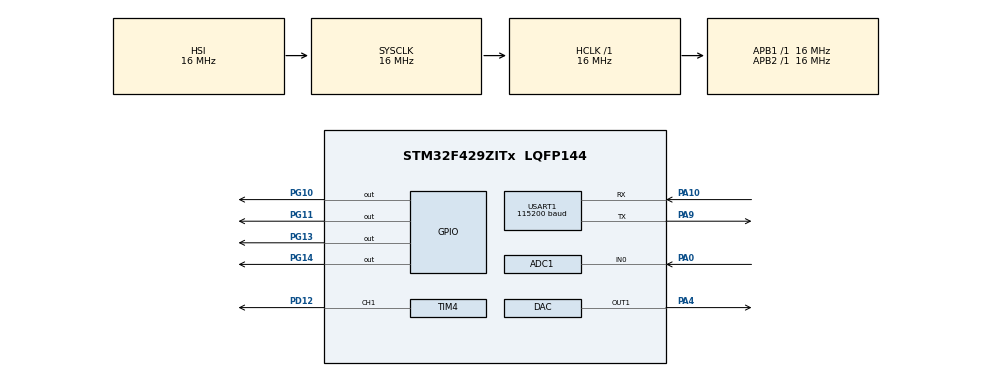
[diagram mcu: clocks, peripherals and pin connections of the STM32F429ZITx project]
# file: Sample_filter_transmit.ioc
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ADC1.Channel-0\#ChannelRegularConversion=ADC_CHANNEL_0
ADC1.DMAContinuousRequests=ENABLE
ADC1.ExternalTrigConv=ADC_EXTERNALTRIGCONV_T2_TRGO
ADC1.NbrOfConversionFlag=1
ADC1.Rank-0\#ChannelRegularConversion=1
ADC1.SamplingTime-0\#ChannelRegularConversion=ADC_SAMPLETIME_84CYCLES
ADC1.master=1
DAC.DAC_Trigger=DAC_TRIGGER_T4_TRGO
Dma.ADC1.0.Direction=DMA_PERIPH_TO_MEMORY
Dma.ADC1.0.FIFOMode=DMA_FIFOMODE_DISABLE
Dma.ADC1.0.Instance=DMA2_Stream0
Dma.ADC1.0.MemDataAlignment=DMA_MDATAALIGN_HALFWORD
Dma.ADC1.0.MemInc=DMA_MINC_ENABLE
Dma.ADC1.0.Mode=DMA_CIRCULAR
Dma.ADC1.0.PeriphDataAlignment=DMA_PDATAALIGN_HALFWORD
Dma.ADC1.0.PeriphInc=DMA_PINC_DISABLE
Dma.ADC1.0.Priority=DMA_PRIORITY_LOW
Dma.DAC1.1.Direction=DMA_MEMORY_TO_PERIPH
Dma.DAC1.1.FIFOMode=DMA_FIFOMODE_DISABLE
Dma.DAC1.1.Instance=DMA1_Stream5
Dma.DAC1.1.MemDataAlignment=DMA_MDATAALIGN_HALFWORD
Dma.DAC1.1.MemInc=DMA_MINC_ENABLE
Dma.DAC1.1.Mode=DMA_CIRCULAR
Dma.DAC1.1.PeriphDataAlignment=DMA_PDATAALIGN_HALFWORD
Dma.DAC1.1.PeriphInc=DMA_PINC_DISABLE
Dma.DAC1.1.Priority=DMA_PRIORITY_LOW
Dma.Request0=ADC1
Dma.Request1=DAC1
Mcu.Family=STM32F4
Mcu.Name=STM32F429ZITx
Mcu.Package=LQFP144
NVIC.DMA1_Stream5_IRQn=true\:0\:0\:false\:false\:true\:false\:true\:true
NVIC.DMA2_Stream0_IRQn=true\:0\:0\:false\:false\:true\:false\:true\:true
NVIC.PriorityGroup=NVIC_PRIORITYGROUP_4
NVIC.TIM2_IRQn=true\:0\:0\:false\:false\:true\:true\:true\:true
NVIC.TIM6_DAC_IRQn=true\:0\:0\:false\:false\:true\:true\:true\:true
NVIC.USART1_IRQn=true\:0\:0\:false\:false\:true\:true\:true\:true
PA0/WKUP.Signal=ADCx_IN0
PA10.Mode=Asynchronous
PA10.Signal=USART1_RX
PA4.Signal=COMP_DAC1_group
PA9.Mode=Asynchronous
PA9.Signal=USART1_TX
PD12.Signal=S_TIM4_CH1
PG10.Signal=GPIO_Output
PG11.Signal=GPIO_Output
PG13.Signal=GPIO_Output
PG14.Signal=GPIO_Output
ProjectManager.HeapSize=0x200
ProjectManager.StackSize=0x400
ProjectManager.TargetToolchain=STM32CubeIDE
RCC.AHBFreq_Value=16000000
RCC.APB1Freq_Value=16000000
RCC.APB2Freq_Value=16000000
RCC.CortexFreq_Value=16000000
RCC.HSE_VALUE=25000000
RCC.HSI_VALUE=16000000
RCC.LSE_VALUE=32768
RCC.SYSCLKFreq_VALUE=16000000
RCC.VCOOutputFreq_Value=192000000
SH.ADCx_IN0.0=ADC1_IN0,IN0
SH.COMP_DAC1_group.0=DAC_OUT1,DAC_OUT1
SH.S_TIM4_CH1.0=TIM4_CH1,PWM Generation1 CH1
STMicroelectronics.X-CUBE-ALGOBUILD.1.4.0.LibraryCcDSPOoLibraryJjDSPOoLibrary=true
TIM2.Period=9
TIM2.Prescaler=1599
TIM2.TIM_MasterOutputTrigger=TIM_TRGO_UPDATE
TIM4.Channel-PWM\ Generation1\ CH1=TIM_CHANNEL_1
TIM4.Period=9
TIM4.Prescaler=2221
TIM4.Pulse-PWM\ Generation1\ CH1=5
TIM4.TIM_MasterOutputTrigger=TIM_TRGO_UPDATE
TIM6.Period=9
TIM6.Prescaler=2221
TIM6.TIM_MasterOutputTrigger=TIM_TRGO_UPDATE
USART1.BaudRate=115200
USART1.VirtualMode=VM_ASYNC
VP_STMicroelectronics.X-CUBE-ALGOBUILD_VS_DSPOoLibraryJjLibrary_1.4.0_1.4.0.Mode=DSPOoLibraryJjLibrary
VP_TIM2_VS_ClockSourceINT.Mode=Internal
VP_TIM4_VS_ClockSourceINT.Mode=Internal
VP_TIM6_VS_ClockSourceINT.Mode=Enable_Timer
board=custom

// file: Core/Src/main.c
/* USER CODE BEGIN Header */
/**
  ******************************************************************************
  * @file           : main.c
  * @brief          : Main program body
  ******************************************************************************
  * @attention
  *
  * Copyright (c) 2025 STMicroelectronics.
  * All rights reserved.
  *
  * This software is licensed under terms that can be found in the LICENSE file
  * in the root directory of this software component.
  * If no LICENSE file comes with this software, it is provided AS-IS.
  *
  ******************************************************************************
  */
/* USER CODE END Header */
#include "main.h"

/* USER CODE BEGIN Includes */
#include <stdbool.h>
#include "arm_math.h"
#include "aami3b_dac.h"
#include "fir_coeffs_equiripple.h"
#include "fir_coeffs_freq_sample.h"
/* USER CODE END Includes */

/* USER CODE BEGIN PD */

//General defines
#define SAMPLING_FREQUENCY 1000
#define BUFFER_SIZE 32
#define HALF_BUFFER_SIZE (BUFFER_SIZE / 2)
#define DECIMATION_FACTOR 4
#define HALF_BUFFER_SIZE_DECIMATED (HALF_BUFFER_SIZE/DECIMATION_FACTOR)
#define ADC_CONVERSION_FACTOR 0.00073260073
#define TIMER_PERIOD 1/(SAMPLING_FREQUENCY)*1000

//IIR defines
#define IIR_FILTER_ORDER 6
#define IIR_NUM_STAGES (IIR_FILTER_ORDER / 2)

//FIR frequency sample defines
#define FIR_FILTER_ORDER_FREQ_SAMPLE 1000
#define FIR_FILTER_LENGTH_FREQ_SAMPLE (FIR_FILTER_ORDER_FREQ_SAMPLE +1)
#define FIR_LENGTH_FREQ_SAMPLE (HALF_BUFFER_SIZE_DECIMATED + FIR_FILTER_LENGTH_FREQ_SAMPLE - 1)

#define FIR_FILTER_ORDER_EQUIRIPPLE 2000
#define FIR_FILTER_LENGTH_EQUIRIPPLE (FIR_FILTER_ORDER_EQUIRIPPLE + 1)
#define FIR_LENGTH_EQUIRIPPLE (HALF_BUFFER_SIZE + FIR_FILTER_LENGTH_EQUIRIPPLE - 1)

//Pan-thompkins defines
#define TIME_WINDOW 150 //150 ms
#define WINDOW_LENGTH 150 //150 samples for fs = 1000 Hz
#define WINDOW_LENGTH_DECIMATED 38 //38 samples for fs = 250 Hz

#define PAN_THOMPKINS_FIR_FILTER_LENGTH 5
#define PAN_THOMPKINS_FIR_LENGTH (HALF_BUFFER_SIZE + PAN_THOMPKINS_FIR_FILTER_LENGTH - 1)
#define PAN_THOMPKINS_FIR_LENGTH_DECIMATED (HALF_BUFFER_SIZE_DECIMATED + PAN_THOMPKINS_FIR_FILTER_LENGTH - 1)

#define PAN_THOMPKINS_NUM_STAGES 4

#define REFACTORY_PERIOD 200
#define PEAK_STORAGE 1000
#define R_PEAKS 16 //Should be 8, but testing other values

//Masks
#define DECIMATION 0b00000001
#define HEART_RATE_TRANSMIT 0b00000010

//#define EVALUATION_ECG_LENGTH 43142
#define EVALUATION_ECG_LENGTH 43142

/* USER CODE END PD */

ADC_HandleTypeDef hadc1;
DMA_HandleTypeDef hdma_adc1;

DAC_HandleTypeDef hdac;
DMA_HandleTypeDef hdma_dac1;

TIM_HandleTypeDef htim2;
TIM_HandleTypeDef htim4;
TIM_HandleTypeDef htim6;

UART_HandleTypeDef huart1;

/* USER CODE BEGIN PV */
uint8_t c = 0;
uint8_t mode_flag = 0;
uint32_t MAX_SAMPLES = 0;
volatile uint16_t adc_data[BUFFER_SIZE] = {0}; //DMA buffer
volatile float32_t data_buffer0[HALF_BUFFER_SIZE] = {0}; //Storing first half of ADC conversions
volatile float32_t data_buffer1[HALF_BUFFER_SIZE] = {0}; //Storing last half of ADC conversions

volatile float32_t uart_data0[HALF_BUFFER_SIZE] = {0}; //For normal transmission
volatile float32_t uart_data1[HALF_BUFFER_SIZE] = {0}; //For normal transmission
volatile float32_t uart_data0_downsampled[HALF_BUFFER_SIZE_DECIMATED] = {0}; //For downsampled transmission
volatile float32_t uart_data1_downsampled[HALF_BUFFER_SIZE_DECIMATED] = {0}; //For downsampled transmission

volatile float32_t pan_thompkins0[HALF_BUFFER_SIZE] = {0};
volatile float32_t pan_thompkins1[HALF_BUFFER_SIZE] = {0};
volatile float32_t pan_thompkins_decimated0[HALF_BUFFER_SIZE_DECIMATED] = {0};
volatile float32_t pan_thompkins_decimated1[HALF_BUFFER_SIZE_DECIMATED] = {0};

volatile uint8_t transmit_flag = 0;
volatile uint32_t timer2_counter = 0;
volatile float32_t uart_ma_hr_data[HALF_BUFFER_SIZE + 1] = {0};
volatile float32_t uart_ma_hr_data_decimated[HALF_BUFFER_SIZE_DECIMATED + 1] = {0};

//Moving average
float32_t ma_samples[WINDOW_LENGTH] = {0};
float32_t ma_samples_decimated[WINDOW_LENGTH_DECIMATED] = {0};
float32_t ma_output[HALF_BUFFER_SIZE];
float32_t ma_output_decimated[HALF_BUFFER_SIZE_DECIMATED];

//Peak detection
uint32_t r_peak_index[PEAK_STORAGE] = {0};
float32_t r_peak_interval[R_PEAKS] = {0};
uint8_t r_index = 0;
float32_t r_peak_interval_average = 0;
bool peak_detected = false;
float32_t beats_per_minute = 0;
float32_t THRESHOLD1I = 0;

//FIR filtering stuff
float32_t fir_state_freq_sample[FIR_LENGTH_FREQ_SAMPLE] = {0};
float32_t fir_in_freq_sample[HALF_BUFFER_SIZE_DECIMATED] = {0};

float32_t fir_state_equiripple[FIR_LENGTH_EQUIRIPPLE] = {0};
float32_t fir_in_equiripple[HALF_BUFFER_SIZE] = {0};
arm_fir_instance_f32 fir0;

uint32_t debug_counter0 = 0;
uint32_t debug_counter1 = 0;

bool use_evaluation = true;

/*
//Every coefficient has been normalized to a0. The array stores b10, b11, b12, a11, a12, ...
//Coefficients in SOS form. Remember, MATLAB puts a minus sign in front of a coefficients. Just negate them.
float32_t iir_coeffs[5*IIR_NUM_STAGES] = { 1.000000000000000, -2.000000000000000, 1.000000000000000,   1.9878958, -0.9879351,
									   1.000000000000000, -2.000000000000000, 1.000000000000000,   1.9911143, -0.9911535,
									   1.000000000000000, -1.999969278284963, 0.999980865437720,   1.9967135, -0.9967529};

float32_t iir_state0[2*IIR_NUM_STAGES] = {0}; //For DF1 we need 4*numstages, but for DF2T we need 2*numstages
*/

float32_t iir_butterworth_coeffs[5*IIR_NUM_STAGES] = {0.0010516, 0.0021033, 0.0010516, 0.8402869, -0.1883452,
												  	  1.0000000, 2.0000000, 1.0000000, 0.9428090, -0.3333333,
													  1.0000000, 2.0000000, 1.0000000, 1.1954340, -0.6905989};
float32_t iir_butterworth_state[2*IIR_NUM_STAGES] = {0};
float32_t iir_out0[HALF_BUFFER_SIZE] = {0};
float32_t iir_out1[HALF_BUFFER_SIZE] = {0};
arm_biquad_cascade_df2T_instance_f32 iir0;

float32_t iir_pan_thompkins_bp[5*PAN_THOMPKINS_NUM_STAGES] = {
										1.8321602e-04, 3.6643204e-04, 1.8321602e-04, 1.6776208, -0.7465797,
										1.0000000,	   2.0000000,	  1.0000000,     1.8128196,	-0.8389382,
										1.0000000,	  -2.0000000,	  1.0000000,	 1.7450038,	-0.8690063,
										1.0000000,	  -2.0000000,	  1.0000000,	 1.9344329,	-0.9507427};
float32_t iir_pan_thompkins_bp_state[2*4] = {0};
arm_biquad_cascade_df2T_instance_f32 iir_pan_thompkins;

//float32_t fir_derivative_coeffs[5] = {-31.250000000000000,	-62.500000000000000,	0,	62.500000000000000,	31.250000000000000};
float32_t fir_derivative_coeffs[5] = {-1,	-2,	0,	2,	1};
float32_t fir_derivative_state[PAN_THOMPKINS_FIR_LENGTH] = {0};
float32_t fir_derivative_state_decimated[PAN_THOMPKINS_FIR_LENGTH_DECIMATED] = {0};
arm_fir_instance_f32 fir_pan_thompkins;

/* USER CODE END PV */

void SystemClock_Config(void);
static void MX_GPIO_Init(void);
static void MX_DMA_Init(void);
static void MX_ADC1_Init(void);
static void MX_TIM2_Init(void);
static void MX_USART1_UART_Init(void);
static void MX_DAC_Init(void);
static void MX_TIM6_Init(void);
static void MX_TIM4_Init(void);

/* USER CODE BEGIN 0 */

void HAL_ADC_ConvHalfCpltCallback(ADC_HandleTypeDef *hadc){
	transmit_flag = (1 << 0);
	for(int i = 0; i < HALF_BUFFER_SIZE; i++){
		data_buffer0[i] = (float32_t)adc_data[i] * ADC_CONVERSION_FACTOR;
	}
}
void HAL_ADC_ConvCpltCallback(ADC_HandleTypeDef *hadc){
	transmit_flag = (1 << 1);
	for(int i = HALF_BUFFER_SIZE; i < BUFFER_SIZE; i++){
		data_buffer1[i-HALF_BUFFER_SIZE] = (float32_t)adc_data[i] * ADC_CONVERSION_FACTOR;
	}
}

void HAL_TIM_PeriodElapsedCallback(TIM_HandleTypeDef *htim){
	timer2_counter++;
}
//Reverse array in place
static void reverse_array(float32_t arr[], int size) {
	float32_t temp;
	int last_index = size - 1;
	for (int i = 0; i < size / 2; i++) {
		temp = arr[i];
		arr[i] = arr[last_index - i];
		arr[last_index - i] = temp;
	}
}

static void decimate(float32_t source[], float32_t dest[], int size){
	for(int i = 0; i < size/DECIMATION_FACTOR; i++){
		dest[i] = source[i*DECIMATION_FACTOR];
	}
}

static void square(float32_t source[], int size){
	for(int i = 0; i < size; i++){
		source[i] = (source[i] * source[i]);
	}
}

//We process HALF_BUFFER_SIZE or HALF_BUFFER_SIZE_DECIMATED samples at a time, hence the need for the for loop.
static void moving_average(float32_t* input_samples, int size){
	static uint32_t ma_counter = 0;
	static uint16_t ma_index = 0;
	static float32_t ma = 0;

	if(mode_flag & DECIMATION){
		for(int i = 0; i < size; i++){
			if(ma_counter < WINDOW_LENGTH_DECIMATED){
				ma = (float32_t) (input_samples[i] + ma_counter*ma)/(ma_counter + 1);
			}
			else{
				ma = ma + (input_samples[i] - (float32_t)ma_samples_decimated[ma_index])/WINDOW_LENGTH_DECIMATED;
			}
			ma_output_decimated[i] = ma; //Store the output in a buffer to be sent via uart.
			ma_samples_decimated[ma_index] = input_samples[i]; //Store the input sample
			ma_counter++;
			ma_index = ma_counter % WINDOW_LENGTH_DECIMATED; //Update index as to know which samples is the oldest.
		}
	}
	else{
		for(int i = 0; i < size; i++){
			if(ma_counter < WINDOW_LENGTH){
				ma = (float32_t) (input_samples[i] + ma_counter*ma)/(ma_counter + 1);
			}
			else{
				ma = ma + (input_samples[i] - (float32_t)ma_samples[ma_index])/WINDOW_LENGTH;
			}
			ma_output[i] = ma; //Store the output in a buffer to be sent via uart.
			ma_samples[ma_index] = input_samples[i]; //Store the input sample
			ma_counter++;
			ma_index = ma_counter % WINDOW_LENGTH; //Update index as to know which samples is the oldest.
		}
	}
}

//We process HALF_BUFFER_SIZE or HALF_BUFFER_SIZE_DECIMATED samples at a time, hence the need for the for loop.
static bool peak_detection(float32_t* input_samples, int size){
	static float32_t middle = 0;
	static float32_t left = 0;
	static uint32_t last_peak_index = 0;
	static uint8_t j = 0;
	static float32_t SPKI = 0;
	static float32_t NPKI = 0;

	bool peak_detected = false;
	for(int i = 0; i < size; i++){
		if(middle >= left && middle >= input_samples[i]){ //Middle sample is a peak
			float32_t peak = middle;
			uint32_t index_diff = timer2_counter - last_peak_index;
			float32_t time_diff = (float32_t)index_diff * (float32_t)TIMER_PERIOD;
			if(time_diff >= REFACTORY_PERIOD){
				if(peak > THRESHOLD1I){
					peak_detected = true;
					r_peak_index[j] = timer2_counter;
					j++;
					last_peak_index = timer2_counter;
					SPKI = (float32_t)0.125 * peak + (float32_t)0.875*SPKI;
					r_peak_interval[r_index] = time_diff;
					r_index = (r_index + 1) % R_PEAKS;
					float32_t sum = 0;
					for(int i = 0; i < R_PEAKS; i++){
						sum += r_peak_interval[i];
					}
					r_peak_interval_average = (float32_t)sum/R_PEAKS;
					beats_per_minute = (float32_t) (60/(r_peak_interval_average/1000));
				}
				else{
					NPKI = (float32_t)0.125 * peak + (float32_t)0.875 * NPKI;
				}
				if(mode_flag & DECIMATION){
					THRESHOLD1I = NPKI + (float32_t)0.5*(SPKI - NPKI); //Try to tune the multiplication value
				}
				else{
					THRESHOLD1I = NPKI + (float32_t)0.5*(SPKI - NPKI); //Try to tune the multiplication value
				}
			}
		}
		left = middle;
		middle = input_samples[i];
	}
	return peak_detected;
}

//Appends the heart rate onto an array of length HALF_BUFFER_SIZE or HALF_BUFFER_SIZE_DECIMATED
static void collect(float32_t* arr, int size, float32_t val){
	for(int i = 0; i < size; i++){
		if(mode_flag & DECIMATION){
			uart_ma_hr_data_decimated[i] = arr[i];
		}
		else{
			uart_ma_hr_data[i] = arr[i];
		}
	}
	if(mode_flag & DECIMATION){
		uart_ma_hr_data_decimated[size] = val;
	}
	else{
		uart_ma_hr_data[size] = val;
	}
}

/* USER CODE END 0 */

int main(void)
{

  /* MCU Configuration--------------------------------------------------------*/

  /* Reset of all peripherals, Initializes the Flash interface and the Systick. */
  HAL_Init();

  /* Configure the system clock */
  SystemClock_Config();

  /* Initialize all configured peripherals */
  MX_GPIO_Init();
  MX_DMA_Init();
  MX_ADC1_Init();
  MX_TIM2_Init();
  MX_USART1_UART_Init();
  MX_DAC_Init();
  MX_TIM6_Init();
  MX_TIM4_Init();
  /* USER CODE BEGIN 2 */
  if(use_evaluation){
	  HAL_DAC_Start_DMA(&hdac, DAC_CHANNEL_1, aami3b_waveform, EVALUATION_ECG_LENGTH, DAC_ALIGN_12B_R); //For dac
  }
  //HAL_TIM_Base_Start(&htim6);
  HAL_TIM_Base_Start(&htim4);
  HAL_TIM_PWM_Start(&htim4, TIM_CHANNEL_1);

  HAL_UART_Receive(&huart1, &c, sizeof(char), HAL_MAX_DELAY); //Wait to receive decimation information from python
  switch(c){
  	  case 1: //Don't use decimation
  		  mode_flag &= ~(1 << 0);
  		  break;
  	  case 2: //Use decimation
  		  mode_flag |= (1 << 0);
  		  break;
  }
  HAL_UART_Receive(&huart1, &c, sizeof(char), HAL_MAX_DELAY); //Wait to receive heart rate information from python
  switch(c){
  	  case 1: //Don't measure heart rate
  		  mode_flag &= ~(1 << 1);
  		  break;
  	  case 2: //Measure heart rate
  		  mode_flag |= (1 << 1);
  		  break;
  }
  HAL_UART_Receive(&huart1, &c, sizeof(char), HAL_MAX_DELAY); //Wait to receive sampling mode from python
  switch(c){
  	  case 1: //Are we in "writing to file" mode?
  		  MAX_SAMPLES = 20000;
  		  break;
  	  case 2: //Or are we in "real-time plotting" mode?
  		  MAX_SAMPLES = 50000;
  		  break;
  }

  //Regular signal processing
  if(mode_flag & DECIMATION){
	  arm_biquad_cascade_df2T_init_f32(&iir0, IIR_NUM_STAGES, iir_butterworth_coeffs, iir_butterworth_state); //Lowpass filter for decimation
	  reverse_array(fir_coeffs_freq_sample, FIR_FILTER_LENGTH_FREQ_SAMPLE); //Coefficients must be reversed to use library functions
	  arm_fir_init_f32(&fir0, FIR_FILTER_LENGTH_FREQ_SAMPLE, fir_coeffs_freq_sample, fir_state_freq_sample, HALF_BUFFER_SIZE_DECIMATED); //FIR filter used with decimation
  }
  else{
	  reverse_array(fir_coeffs_equiripple, FIR_FILTER_LENGTH_EQUIRIPPLE); //Coefficients must be reversed to use library functions
	  arm_fir_init_f32(&fir0, FIR_FILTER_LENGTH_EQUIRIPPLE, fir_coeffs_equiripple, fir_state_equiripple, HALF_BUFFER_SIZE); //FIR filter used without decimation
  }

  //Pan-thompkins
  if(mode_flag & DECIMATION){
	  reverse_array(fir_derivative_coeffs, 5);
	  arm_biquad_cascade_df2T_init_f32(&iir_pan_thompkins,PAN_THOMPKINS_NUM_STAGES, iir_pan_thompkins_bp, iir_pan_thompkins_bp_state);
	  arm_fir_init_f32(&fir_pan_thompkins, PAN_THOMPKINS_FIR_FILTER_LENGTH, fir_derivative_coeffs, fir_derivative_state_decimated, HALF_BUFFER_SIZE_DECIMATED);
  }
  else{
	  reverse_array(fir_derivative_coeffs,5);
	  arm_biquad_cascade_df2T_init_f32(&iir_pan_thompkins,PAN_THOMPKINS_NUM_STAGES, iir_pan_thompkins_bp, iir_pan_thompkins_bp_state);
	  arm_fir_init_f32(&fir_pan_thompkins, PAN_THOMPKINS_FIR_FILTER_LENGTH, fir_derivative_coeffs, fir_derivative_state, HALF_BUFFER_SIZE);
  }

  HAL_ADC_Start_DMA(&hadc1, adc_data, BUFFER_SIZE);
  HAL_TIM_Base_Start_IT(&htim2);

  /* USER CODE END 2 */

  /* Infinite loop */
  /* USER CODE BEGIN WHILE */
  while (1)
  {

	  switch(transmit_flag){
	  	  case 1: //Transmit buffer0
	  		  transmit_flag = 0;
	  		  if(mode_flag & DECIMATION){
	  			  //FIR and decimate scheme
		  		  arm_biquad_cascade_df2T_f32(&iir0, data_buffer0, iir_out0, HALF_BUFFER_SIZE);
		  		  decimate(iir_out0, fir_in_freq_sample, HALF_BUFFER_SIZE);
		  		  arm_fir_f32(&fir0, fir_in_freq_sample, uart_data0_downsampled, HALF_BUFFER_SIZE_DECIMATED);
		  		  if(!(mode_flag & HEART_RATE_TRANSMIT)){
		  			  HAL_UART_Transmit_IT(&huart1, (uint8_t*)uart_data0_downsampled, sizeof(uart_data0_downsampled));
		  		  }
	  		  }
	  		  else{
	  			  arm_fir_f32(&fir0, data_buffer0, uart_data0, HALF_BUFFER_SIZE);
	  			  if(!(mode_flag & HEART_RATE_TRANSMIT)){
	  				  HAL_UART_Transmit_IT(&huart1, (uint8_t*)uart_data0, sizeof(uart_data0));
	  			  }
	  		  }

	  		  //arm_biquad_cascade_df2T_f32(&iir0, iir_in0, uart_data0, HALF_BUFFER_SIZE);
	  		  //HAL_UART_Transmit_IT(&huart1, uart_data0, sizeof(uart_data0));

	  		  //Pan-Thompkins
	  		  if(mode_flag & HEART_RATE_TRANSMIT){
	  			  if(mode_flag & DECIMATION){
					arm_biquad_cascade_df2T_f32(&iir_pan_thompkins,uart_data0_downsampled, pan_thompkins_decimated0, HALF_BUFFER_SIZE_DECIMATED); //Bandpass filtering
					arm_fir_f32(&fir_pan_thompkins, pan_thompkins_decimated0, pan_thompkins_decimated1, HALF_BUFFER_SIZE_DECIMATED); //Derivative
					square(pan_thompkins_decimated1, HALF_BUFFER_SIZE_DECIMATED);
					moving_average(pan_thompkins_decimated1, HALF_BUFFER_SIZE_DECIMATED);
					if (timer2_counter > 5000) {
						peak_detected = peak_detection(ma_output_decimated,HALF_BUFFER_SIZE_DECIMATED);
					}
					collect(uart_data0_downsampled, HALF_BUFFER_SIZE_DECIMATED, beats_per_minute);
					//HAL_UART_Transmit_IT(&huart1, (uint8_t*)ma_output, sizeof(ma_output)); //Send Pan-thompkins waveform
					HAL_UART_Transmit_IT(&huart1, (uint8_t*) uart_ma_hr_data_decimated, sizeof(uart_ma_hr_data_decimated)); //Send ECG signal with heart rate
	  			  }

	  			  else{
	  				arm_biquad_cascade_df2T_f32(&iir_pan_thompkins,uart_data0, pan_thompkins0, HALF_BUFFER_SIZE); //Bandpass filtering
	  				arm_fir_f32(&fir_pan_thompkins, pan_thompkins0, pan_thompkins1, HALF_BUFFER_SIZE); //Derivative
	  				square(pan_thompkins1, HALF_BUFFER_SIZE);
	  				moving_average(pan_thompkins1, HALF_BUFFER_SIZE);
	  				if (timer2_counter > 5000) {
	  				peak_detected = peak_detection(ma_output,HALF_BUFFER_SIZE);
	  				}
	  				collect(uart_data0, HALF_BUFFER_SIZE, beats_per_minute);
	  				//HAL_UART_Transmit_IT(&huart1, (uint8_t*)ma_output, sizeof(ma_output)); //Send Pan-thompkins waveform
	  				HAL_UART_Transmit_IT(&huart1, (uint8_t*) uart_ma_hr_data, sizeof(uart_ma_hr_data)); //Send ECG signal with heart rate
	  				debug_counter0++;
	  			  }
	  		  }

	  		  break;
	  	  case 2: //Transmit buffer1
	  		  transmit_flag = 0;
	  		  if(mode_flag & DECIMATION){
	  			  //FIR and decimate scheme
		  		  arm_biquad_cascade_df2T_f32(&iir0, data_buffer1, iir_out1, HALF_BUFFER_SIZE);
		  		  decimate(iir_out1, fir_in_freq_sample, HALF_BUFFER_SIZE);
		  		  arm_fir_f32(&fir0, fir_in_freq_sample, uart_data1_downsampled, HALF_BUFFER_SIZE_DECIMATED);
		  		  if(!(mode_flag & HEART_RATE_TRANSMIT)){
		  			  HAL_UART_Transmit_IT(&huart1, (uint8_t*)uart_data1_downsampled, sizeof(uart_data1_downsampled));
		  		  }
	  		  }
	  		  else{
	  			  arm_fir_f32(&fir0, data_buffer1, uart_data1, HALF_BUFFER_SIZE);
	  			  if(!(mode_flag & HEART_RATE_TRANSMIT)){
	  				  HAL_UART_Transmit_IT(&huart1, (uint8_t*)uart_data1, sizeof(uart_data1));
	  			  }
	  		  }

	  		  //arm_biquad_cascade_df2T_f32(&iir0, iir_in0, uart_data0, HALF_BUFFER_SIZE);
	  		  //HAL_UART_Transmit_IT(&huart1, uart_data0, sizeof(uart_data0));

	  		 //Pan-Thompkins
			if (mode_flag & HEART_RATE_TRANSMIT) {
				if (mode_flag & DECIMATION) {
					arm_biquad_cascade_df2T_f32(&iir_pan_thompkins,uart_data1_downsampled, pan_thompkins_decimated0,HALF_BUFFER_SIZE_DECIMATED); //Bandpass filtering
					arm_fir_f32(&fir_pan_thompkins, pan_thompkins_decimated0,pan_thompkins_decimated1, HALF_BUFFER_SIZE_DECIMATED); //Derivative
					square(pan_thompkins_decimated1, HALF_BUFFER_SIZE_DECIMATED);
					moving_average(pan_thompkins_decimated1, HALF_BUFFER_SIZE_DECIMATED);
					if (timer2_counter > 5000) {
						peak_detected = peak_detection(ma_output_decimated,HALF_BUFFER_SIZE_DECIMATED);
					}
					collect(uart_data1_downsampled, HALF_BUFFER_SIZE_DECIMATED,beats_per_minute);
					//HAL_UART_Transmit_IT(&huart1, (uint8_t*)ma_output, sizeof(ma_output)); //Send Pan-thompkins waveform
					HAL_UART_Transmit_IT(&huart1, (uint8_t*) uart_ma_hr_data_decimated,sizeof(uart_ma_hr_data_decimated)); //Send ECG signal with heart rate
				}
				else{
					arm_biquad_cascade_df2T_f32(&iir_pan_thompkins,uart_data1, pan_thompkins0, HALF_BUFFER_SIZE); //Bandpass filtering
					arm_fir_f32(&fir_pan_thompkins, pan_thompkins0, pan_thompkins1, HALF_BUFFER_SIZE); //Derivative
					square(pan_thompkins1, HALF_BUFFER_SIZE);
					moving_average(pan_thompkins1, HALF_BUFFER_SIZE);
					if (timer2_counter > 5000) {
					peak_detected = peak_detection(ma_output,HALF_BUFFER_SIZE);
					}
					collect(uart_data1, HALF_BUFFER_SIZE, beats_per_minute);
					//HAL_UART_Transmit_IT(&huart1, (uint8_t*)ma_output, sizeof(ma_output)); //Send Pan-thompkins waveform
					HAL_UART_Transmit_IT(&huart1, (uint8_t*) uart_ma_hr_data, sizeof(uart_ma_hr_data)); //Send ECG signal with heart rate
					debug_counter1++;
				}
			}

			break;
	  	  default:
	  }
	  if(peak_detected){
		  HAL_GPIO_TogglePin(GPIOG, GPIO_PIN_13);
	  }

	  if(timer2_counter >= MAX_SAMPLES){
		  HAL_TIM_Base_Stop_IT(&htim2);
		  HAL_ADC_Stop_DMA(&hadc1);
		  HAL_GPIO_WritePin(GPIOG, GPIO_PIN_13, GPIO_PIN_SET);
		  while(1){}
	  }
    /* USER CODE END WHILE */

  }
}

void SystemClock_Config(void)
{
  RCC_OscInitTypeDef RCC_OscInitStruct = {0};
  RCC_ClkInitTypeDef RCC_ClkInitStruct = {0};

  /** Configure the main internal regulator output voltage
  */
  __HAL_RCC_PWR_CLK_ENABLE();
  __HAL_PWR_VOLTAGESCALING_CONFIG(PWR_REGULATOR_VOLTAGE_SCALE3);

  /** Initializes the RCC Oscillators according to the specified parameters
  * in the RCC_OscInitTypeDef structure.
  */
  RCC_OscInitStruct.OscillatorType = RCC_OSCILLATORTYPE_HSI;
  RCC_OscInitStruct.HSIState = RCC_HSI_ON;
  RCC_OscInitStruct.HSICalibrationValue = RCC_HSICALIBRATION_DEFAULT;
  RCC_OscInitStruct.PLL.PLLState = RCC_PLL_NONE;
  if (HAL_RCC_OscConfig(&RCC_OscInitStruct) != HAL_OK)
  {
    Error_Handler();
  }

  /** Initializes the CPU, AHB and APB buses clocks
  */
  RCC_ClkInitStruct.ClockType = RCC_CLOCKTYPE_HCLK|RCC_CLOCKTYPE_SYSCLK
                              |RCC_CLOCKTYPE_PCLK1|RCC_CLOCKTYPE_PCLK2;
  RCC_ClkInitStruct.SYSCLKSource = RCC_SYSCLKSOURCE_HSI;
  RCC_ClkInitStruct.AHBCLKDivider = RCC_SYSCLK_DIV1;
  RCC_ClkInitStruct.APB1CLKDivider = RCC_HCLK_DIV1;
  RCC_ClkInitStruct.APB2CLKDivider = RCC_HCLK_DIV1;

  if (HAL_RCC_ClockConfig(&RCC_ClkInitStruct, FLASH_LATENCY_0) != HAL_OK)
  {
    Error_Handler();
  }
}

static void MX_ADC1_Init(void)
{

  ADC_ChannelConfTypeDef sConfig = {0};

  /** Configure the global features of the ADC (Clock, Resolution, Data Alignment and number of conversion)
  */
  hadc1.Instance = ADC1;
  hadc1.Init.ClockPrescaler = ADC_CLOCK_SYNC_PCLK_DIV2;
  hadc1.Init.Resolution = ADC_RESOLUTION_12B;
  hadc1.Init.ScanConvMode = DISABLE;
  hadc1.Init.ContinuousConvMode = DISABLE;
  hadc1.Init.DiscontinuousConvMode = DISABLE;
  hadc1.Init.ExternalTrigConvEdge = ADC_EXTERNALTRIGCONVEDGE_RISING;
  hadc1.Init.ExternalTrigConv = ADC_EXTERNALTRIGCONV_T2_TRGO;
  hadc1.Init.DataAlign = ADC_DATAALIGN_RIGHT;
  hadc1.Init.NbrOfConversion = 1;
  hadc1.Init.DMAContinuousRequests = ENABLE;
  hadc1.Init.EOCSelection = ADC_EOC_SINGLE_CONV;
  if (HAL_ADC_Init(&hadc1) != HAL_OK)
  {
    Error_Handler();
  }

  /** Configure for the selected ADC regular channel its corresponding rank in the sequencer and its sample time.
  */
  sConfig.Channel = ADC_CHANNEL_0;
  sConfig.Rank = 1;
  sConfig.SamplingTime = ADC_SAMPLETIME_84CYCLES;
  if (HAL_ADC_ConfigChannel(&hadc1, &sConfig) != HAL_OK)
  {
    Error_Handler();
  }

}

static void MX_DAC_Init(void)
{

  DAC_ChannelConfTypeDef sConfig = {0};

  /** DAC Initialization
  */
  hdac.Instance = DAC;
  if (HAL_DAC_Init(&hdac) != HAL_OK)
  {
    Error_Handler();
  }

  /** DAC channel OUT1 config
  */
  sConfig.DAC_Trigger = DAC_TRIGGER_T4_TRGO;
  sConfig.DAC_OutputBuffer = DAC_OUTPUTBUFFER_ENABLE;
  if (HAL_DAC_ConfigChannel(&hdac, &sConfig, DAC_CHANNEL_1) != HAL_OK)
  {
    Error_Handler();
  }

}

static void MX_TIM2_Init(void)
{

  TIM_ClockConfigTypeDef sClockSourceConfig = {0};
  TIM_MasterConfigTypeDef sMasterConfig = {0};

  htim2.Instance = TIM2;
  htim2.Init.Prescaler = 1599;
  htim2.Init.CounterMode = TIM_COUNTERMODE_UP;
  htim2.Init.Period = 9;
  htim2.Init.ClockDivision = TIM_CLOCKDIVISION_DIV1;
  htim2.Init.AutoReloadPreload = TIM_AUTORELOAD_PRELOAD_DISABLE;
  if (HAL_TIM_Base_Init(&htim2) != HAL_OK)
  {
    Error_Handler();
  }
  sClockSourceConfig.ClockSource = TIM_CLOCKSOURCE_INTERNAL;
  if (HAL_TIM_ConfigClockSource(&htim2, &sClockSourceConfig) != HAL_OK)
  {
    Error_Handler();
  }
  sMasterConfig.MasterOutputTrigger = TIM_TRGO_UPDATE;
  sMasterConfig.MasterSlaveMode = TIM_MASTERSLAVEMODE_DISABLE;
  if (HAL_TIMEx_MasterConfigSynchronization(&htim2, &sMasterConfig) != HAL_OK)
  {
    Error_Handler();
  }

}

static void MX_TIM4_Init(void)
{

  TIM_ClockConfigTypeDef sClockSourceConfig = {0};
  TIM_MasterConfigTypeDef sMasterConfig = {0};
  TIM_OC_InitTypeDef sConfigOC = {0};

  htim4.Instance = TIM4;
  htim4.Init.Prescaler = 2221;
  htim4.Init.CounterMode = TIM_COUNTERMODE_UP;
  htim4.Init.Period = 9;
  htim4.Init.ClockDivision = TIM_CLOCKDIVISION_DIV1;
  htim4.Init.AutoReloadPreload = TIM_AUTORELOAD_PRELOAD_DISABLE;
  if (HAL_TIM_Base_Init(&htim4) != HAL_OK)
  {
    Error_Handler();
  }
  sClockSourceConfig.ClockSource = TIM_CLOCKSOURCE_INTERNAL;
  if (HAL_TIM_ConfigClockSource(&htim4, &sClockSourceConfig) != HAL_OK)
  {
    Error_Handler();
  }
  if (HAL_TIM_PWM_Init(&htim4) != HAL_OK)
  {
    Error_Handler();
  }
  sMasterConfig.MasterOutputTrigger = TIM_TRGO_UPDATE;
  sMasterConfig.MasterSlaveMode = TIM_MASTERSLAVEMODE_DISABLE;
  if (HAL_TIMEx_MasterConfigSynchronization(&htim4, &sMasterConfig) != HAL_OK)
  {
    Error_Handler();
  }
  sConfigOC.OCMode = TIM_OCMODE_PWM1;
  sConfigOC.Pulse = 5;
  sConfigOC.OCPolarity = TIM_OCPOLARITY_HIGH;
  sConfigOC.OCFastMode = TIM_OCFAST_DISABLE;
  if (HAL_TIM_PWM_ConfigChannel(&htim4, &sConfigOC, TIM_CHANNEL_1) != HAL_OK)
  {
    Error_Handler();
  }
  HAL_TIM_MspPostInit(&htim4);

}

static void MX_TIM6_Init(void)
{

  TIM_MasterConfigTypeDef sMasterConfig = {0};

  htim6.Instance = TIM6;
  htim6.Init.Prescaler = 2221;
  htim6.Init.CounterMode = TIM_COUNTERMODE_UP;
  htim6.Init.Period = 9;
  htim6.Init.AutoReloadPreload = TIM_AUTORELOAD_PRELOAD_DISABLE;
  if (HAL_TIM_Base_Init(&htim6) != HAL_OK)
  {
    Error_Handler();
  }
  sMasterConfig.MasterOutputTrigger = TIM_TRGO_UPDATE;
  sMasterConfig.MasterSlaveMode = TIM_MASTERSLAVEMODE_DISABLE;
  if (HAL_TIMEx_MasterConfigSynchronization(&htim6, &sMasterConfig) != HAL_OK)
  {
    Error_Handler();
  }

}

static void MX_USART1_UART_Init(void)
{

  huart1.Instance = USART1;
  huart1.Init.BaudRate = 115200;
  huart1.Init.WordLength = UART_WORDLENGTH_8B;
  huart1.Init.StopBits = UART_STOPBITS_1;
  huart1.Init.Parity = UART_PARITY_NONE;
  huart1.Init.Mode = UART_MODE_TX_RX;
  huart1.Init.HwFlowCtl = UART_HWCONTROL_NONE;
  huart1.Init.OverSampling = UART_OVERSAMPLING_16;
  if (HAL_UART_Init(&huart1) != HAL_OK)
  {
    Error_Handler();
  }

}

static void MX_DMA_Init(void)
{

  /* DMA controller clock enable */
  __HAL_RCC_DMA2_CLK_ENABLE();
  __HAL_RCC_DMA1_CLK_ENABLE();

  /* DMA interrupt init */
  /* DMA1_Stream5_IRQn interrupt configuration */
  HAL_NVIC_SetPriority(DMA1_Stream5_IRQn, 0, 0);
  HAL_NVIC_EnableIRQ(DMA1_Stream5_IRQn);
  /* DMA2_Stream0_IRQn interrupt configuration */
  HAL_NVIC_SetPriority(DMA2_Stream0_IRQn, 0, 0);
  HAL_NVIC_EnableIRQ(DMA2_Stream0_IRQn);

}

static void MX_GPIO_Init(void)
{
  GPIO_InitTypeDef GPIO_InitStruct = {0};

  /* GPIO Ports Clock Enable */
  __HAL_RCC_GPIOA_CLK_ENABLE();
  __HAL_RCC_GPIOD_CLK_ENABLE();
  __HAL_RCC_GPIOG_CLK_ENABLE();

  /*Configure GPIO pin Output Level */
  HAL_GPIO_WritePin(GPIOG, GPIO_PIN_10|GPIO_PIN_11|GPIO_PIN_13|GPIO_PIN_14, GPIO_PIN_RESET);

  /*Configure GPIO pins : PG10 PG11 PG13 PG14 */
  GPIO_InitStruct.Pin = GPIO_PIN_10|GPIO_PIN_11|GPIO_PIN_13|GPIO_PIN_14;
  GPIO_InitStruct.Mode = GPIO_MODE_OUTPUT_PP;
  GPIO_InitStruct.Pull = GPIO_NOPULL;
  GPIO_InitStruct.Speed = GPIO_SPEED_FREQ_LOW;
  HAL_GPIO_Init(GPIOG, &GPIO_InitStruct);

}

void Error_Handler(void)
{
  __disable_irq();
  while (1)
  {
  }
}
